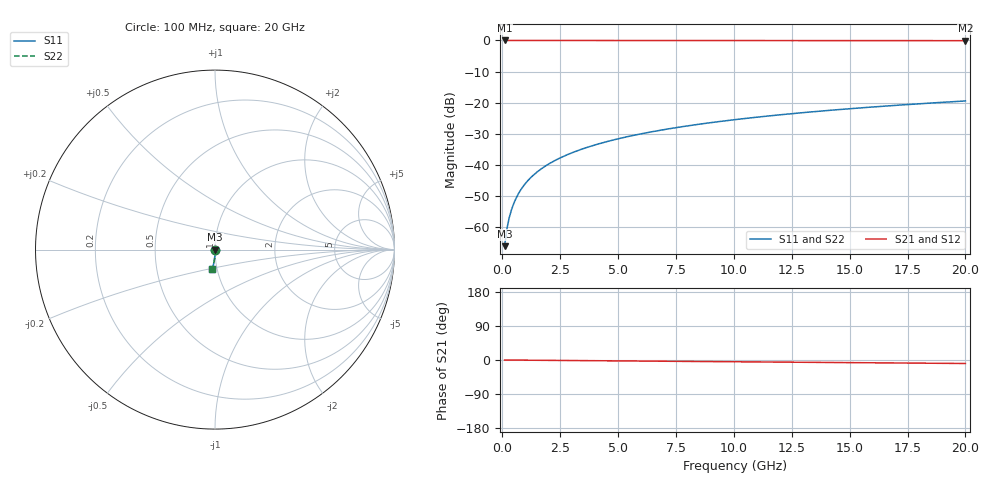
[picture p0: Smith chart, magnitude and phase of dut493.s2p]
! Touchstone file exported from HFSS 2026.1.0
!  File:  C:/ffzhzh/LocalFiles/Ansys_Project_Files/temp_train_TSV_493_1783022846_51716.aedt
!  Generated:  04:09:08 AM Jul  3, 2026
!  Design:  TSV
!  Project:  temp_train_TSV_493_1783022846_51716
! Variables:
!  h_bsmrdl = 2um
!  h_ox = 20um
!  h_rdl = 5um
!  h_sub = 74.22um
!  h_tmrdl = 5um
!  h_tsv = 74.22um
!  h_via = 3um
!  l_bsmrdl = 300um
!  l_sub = 415.52um
!  l_tmrdl = 200um
!  m_sub = 200um
!  pitch = 18.21um
!  r_tsv = 7.76um
!  s_tmrdl = 10um
!  w_bsmrdl = 18um
!  w_sub = 500um
!  w_tmrdl = 12um
!  x_tsv_center1 = 206um
!  x_tsv_center2 = 524um
!  x_tsv_center3 = 736um
!  x_tsv_center4 = 1054um
!  x_tsv_center5 = 1266um
!  x_tsv_center6 = 1584um
# GHz S MA R 50.000000
! Terminal data exported
! Port[1] = TSV1_1_T1
! Port[2] = TSV1_1_T2
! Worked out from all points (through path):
!   200 points, 100 MHz to 20 GHz, reference 50 ohm
!   highest |S21| = 0.00 dB at 100 MHz (marker M1); lowest = -0.1 dB at 20 GHz (marker M2)
!   group delay of S21, straight-line fit = 1.28 ps
!   lowest |S11| = -66.0 dB at 100 MHz (marker M3), VSWR 1.00, Z = 50 - j0.046 ohm
!   |S11| at or under -10 dB: start of sweep to end of sweep
!   |S22| runs from -66.0 to -19.4 dB; largest |S21 - S12| = 5.2e-15
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0.1  0.0005014 -66.4  0.9998 -0.1  0.9998 -0.1  0.0005014 -66.4
! Gamma 0 0 0 0
! Port Impedance 50 0 50 0
0.2  0.0009567 -76.1  0.9998 -0.1  0.9998 -0.1  0.0009567 -76.1
0.3  0.001439 -79.2  0.9997 -0.2  0.9997 -0.2  0.001439 -79.2
0.4  0.001939 -80.8  0.9997 -0.2  0.9997 -0.2  0.001939 -80.8
0.5  0.002451 -81.8  0.9996 -0.2  0.9996 -0.2  0.002451 -81.8
0.7  0.003498 -83.3  0.9996 -0.3  0.9996 -0.3  0.003498 -83.3
0.8  0.004027 -83.8  0.9995 -0.4  0.9995 -0.4  0.004027 -83.8
1  0.00509 -84.8  0.9995 -0.5  0.9995 -0.5  0.00509 -84.8
1.2  0.006153 -85.5  0.9994 -0.6  0.9994 -0.6  0.006153 -85.5
1.4  0.007217 -86.1  0.9994 -0.7  0.9994 -0.7  0.007217 -86.1
1.7  0.008811 -86.8  0.9993 -0.8  0.9993 -0.8  0.008811 -86.8
2  0.01041 -87.3  0.9993 -0.9  0.9993 -0.9  0.01041 -87.3
2.7  0.01413 -88.3  0.9992 -1.3  0.9992 -1.3  0.01413 -88.3
3.5  0.0184 -89.0  0.999 -1.6  0.999 -1.6  0.0184 -89.0
4.2  0.02215 -89.5  0.9988 -2.0  0.9988 -2.0  0.02215 -89.5
5  0.02645 -90.1  0.9986 -2.3  0.9986 -2.3  0.02645 -90.1
6.8  0.03615 -91.2  0.9981 -3.2  0.9981 -3.2  0.03615 -91.2
8.3  0.04425 -92.1  0.9976 -3.9  0.9976 -3.9  0.04425 -92.1
10.1  0.05396 -93.1  0.997 -4.7  0.997 -4.7  0.05396 -93.1
13.4  0.07174 -94.8  0.9957 -6.2  0.9957 -6.2  0.07174 -94.8
16.7  0.08944 -96.4  0.994 -7.7  0.994 -7.7  0.08944 -96.4
20  0.1071 -98.0  0.992 -9.2  0.992 -9.2  0.1071 -98.0
